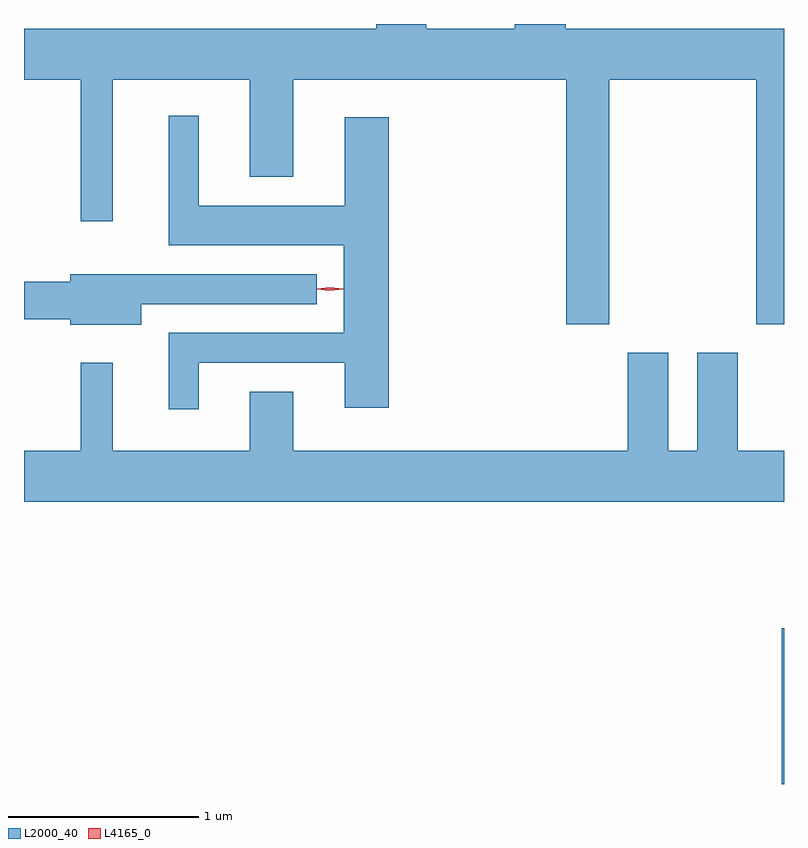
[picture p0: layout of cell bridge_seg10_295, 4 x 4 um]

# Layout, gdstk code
import gdstk
lib = gdstk.Library(unit=1e-6, precision=1e-09)
def R(c, l, rs):  # rectangles x0, y0, x1, y1
    for r in rs: c.add(gdstk.rectangle(r[:2], r[2:], *l))
def P(c, l, *ps):  # polygons
    for p in ps: c.add(gdstk.Polygon(p, *l))
L2000_40 = (2000, 40)
L4165_0 = (4165, 0)

bridge_seg10_295 = lib.new_cell('bridge_seg10_295')
R(bridge_seg10_295, L2000_40, [(1421.171,2190.13,1421.183,2190.949)])
P(bridge_seg10_295, L2000_40, [(1420.264,2193.836),(1421.036,2193.836),(1421.036,2192.551),(1421.183,2192.551),(1421.183,2194.104),(1420.034,2194.104),(1420.034,2194.13),(1419.766,2194.13),(1419.766,2194.104),(1419.299,2194.104),(1419.299,2194.13),(1419.036,2194.13),(1419.036,2194.104),(1417.183,2194.104),(1417.183,2193.836),(1417.481,2193.836),(1417.481,2193.093),(1417.649,2193.093),(1417.649,2193.836),(1418.371,2193.836),(1418.371,2193.326),(1418.599,2193.326),(1418.599,2193.836),(1420.036,2193.836),(1420.036,2192.551),(1420.264,2192.551)],
  [(1418.104,2192.346),(1418.871,2192.346),(1418.871,2192.111),(1419.104,2192.111),(1419.104,2193.639),(1418.871,2193.639),(1418.871,2193.174),(1418.104,2193.174),(1418.104,2193.648),(1417.946,2193.648),(1417.946,2192.966),(1418.866,2192.966),(1418.866,2192.504),(1417.946,2192.504),(1417.946,2192.103),(1418.104,2192.103)],
  [(1417.799,2192.656),(1418.723,2192.656),(1418.723,2192.814),(1417.426,2192.814),(1417.426,2192.774),(1417.183,2192.774),(1417.183,2192.576),(1417.426,2192.576),(1417.426,2192.546),(1417.799,2192.546)],
  [(1421.183,2191.884),(1420.939,2191.884),(1420.939,2192.399),(1420.726,2192.399),(1420.726,2191.884),(1420.574,2191.884),(1420.574,2192.399),(1420.361,2192.399),(1420.361,2191.884),(1418.599,2191.884),(1418.599,2192.194),(1418.371,2192.194),(1418.371,2191.884),(1417.649,2191.884),(1417.649,2192.348),(1417.481,2192.348),(1417.481,2191.884),(1417.183,2191.884),(1417.183,2191.616),(1421.183,2191.616)])
P(bridge_seg10_295, L4165_0, [(1418.793,2192.725),(1418.724,2192.734),(1418.724,2192.735),(1418.724,2192.736),(1418.793,2192.745),(1418.862,2192.736),(1418.862,2192.735),(1418.862,2192.734)],
  [(1418.793,2192.725),(1418.727,2192.734),(1418.727,2192.735),(1418.727,2192.736),(1418.793,2192.745),(1418.859,2192.736),(1418.859,2192.735),(1418.859,2192.734)])

lib.write_gds('bridge_seg10_295.gds')
